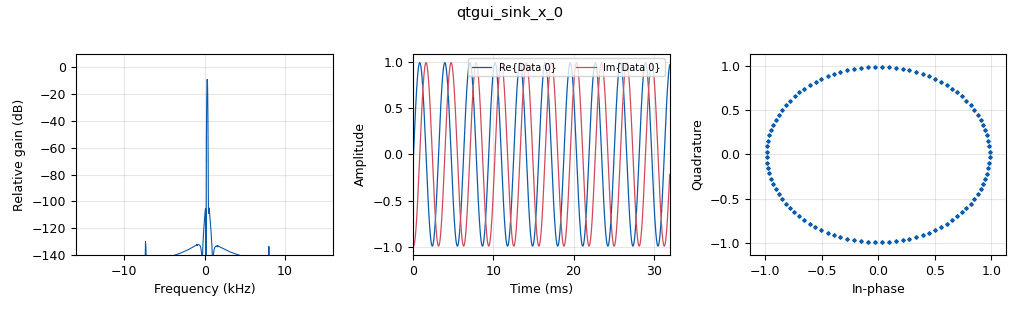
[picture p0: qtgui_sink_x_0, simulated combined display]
options:
  parameters:
    author: popikeyshen
    generate_options: qt_gui
    id: simul2
    output_language: python
    title: Not titled yet
  states: {}

blocks:
- name: samp_rate
  id: variable
  parameters:
    value: '32000'
  states: {}
- name: sample_rate
  id: variable
  parameters:
    value: '100000'
  states: {}
- name: analog_sig_source_x_0
  id: analog_sig_source_x
  parameters:
    amp: '0.5'
    freq: '1000'
    offset: '0'
    phase: '0'
    samp_rate: sample_rate
    type: complex
    waveform: analog.GR_SIN_WAVE
  states: {}
- name: blocks_add_xx_0
  id: blocks_add_xx
  parameters:
    type: complex
  states: {}
- name: blocks_delay_0
  id: blocks_delay
  parameters:
    delay: '5'
    type: complex
  states: {}
- name: qtgui_sink_x_0
  id: qtgui_sink_x
  parameters:
    bw: samp_rate
    fc: '0'
    fftsize: '1024'
    type: complex
    wintype: firdes.WIN_BLACKMAN_hARRIS
  states: {}

connections:
- [analog_sig_source_x_0, '0', blocks_add_xx_0, '0']
- [analog_sig_source_x_0, '0', blocks_delay_0, '0']
- [blocks_add_xx_0, '0', qtgui_sink_x_0, '0']
- [blocks_delay_0, '0', blocks_add_xx_0, '1']

metadata:
  file_format: 1
